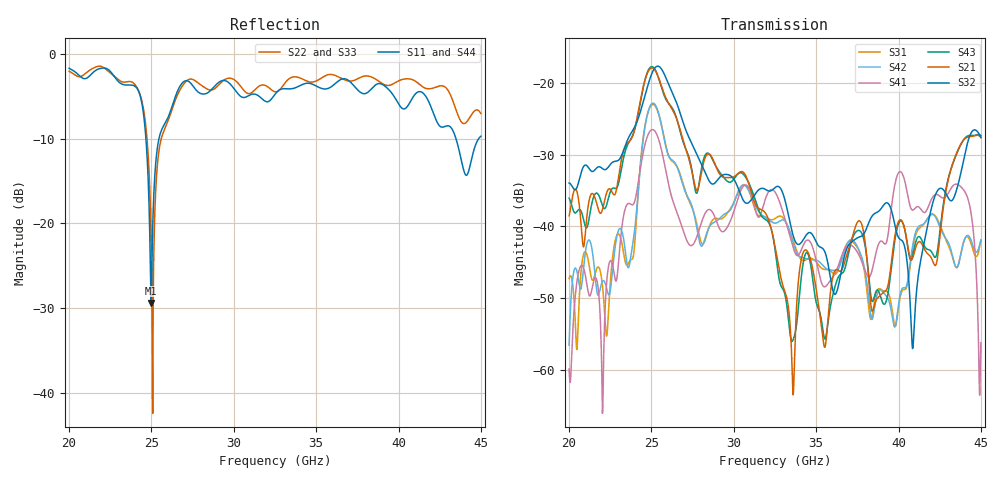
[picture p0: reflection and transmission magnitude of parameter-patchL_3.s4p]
! TOUCHSTONE file generated by CST MICROWAVE STUDIO
! Date and time: Sat Jun  8 23:23:03 2024
! Project name: Final_26GHz_linear.cst
! Parameters = {tand=0.0037; Connector_spacing=15.33; Coplanar_gap=0.425; Distance_inner=4.78238; Distance_outer=14.3471; L=2.756; L_pad=5; Length_strip_inner=24.3248; Length_strip_outer=27.8328; Pad_via_diameter=2.1; Pad_via_x_centre=3.75; Pad_via_z_centre=2.8; Patch_spacing=5.76524; Via_diameter=0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
! Header version: 2024
! Port assignment regex: !\s*Touchstone port\s*([0-9]+)\s*=\s*(CST MWS port|CST DES external port|CST DES block port)\s*(.+)\s* \(\"(.*)\"\)(\s*mode\s*([0-9]+))?.*
! Touchstone port assignment:
! Touchstone port 1 = CST MWS port 1 ("")
! Touchstone port 2 = CST MWS port 2 ("")
! Touchstone port 3 = CST MWS port 3 ("")
! Touchstone port 4 = CST MWS port 4 ("")
# GHz S MA R 50
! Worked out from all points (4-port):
!   1001 points, 20 GHz to 45 GHz, reference 50 ohm
!   strongest paths, dB at 20 GHz, 26.25 GHz, 32.5 GHz, 38.75 GHz, 45 GHz:
!     S32: -34.0, -21.3, -34.6, -38.0, -27.6
!     S21: -38.5, -23.7, -42.8, -49.9, -27.6
!     S43: -36.1, -23.5, -43.1, -48.9, -27.4
!     S41: -59.8, -36.1, -35.2, -42.7, -56.2
!     S42: -56.5, -30.8, -39.5, -49.2, -41.9
!     S31: -47.3, -30.9, -38.9, -48.8, -41.9
!   lowest |S11| = -29.4 dB at 24.98 GHz (marker M1), VSWR 1.07, Z = 50.6 + j3.37 ohm
!   |S11| at or under -10 dB: 24.66 GHz to 25.45 GHz (791.2 MHz wide, 3.16 % of centre); 43.49 GHz to 44.86 GHz (1.372 GHz wide, 3.11 % of centre)
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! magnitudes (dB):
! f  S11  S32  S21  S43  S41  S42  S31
! 20 GHz  -1.7  -34.0  -38.5  -36.1  -59.8  -56.5  -47.3
! 22.27 GHz  -1.7  -32.0  -35.3  -37.0  -47.9  -48.6  -55.3
! 24.98 GHz  -29.4  -19.0  -18.0  -17.8  -26.6  -23.0  -23.2
! 33.6 GHz  -4.1  -41.3  -63.5  -55.8  -42.9  -42.4  -42.0
! 40.88 GHz  -5.1  -56.8  -44.3  -43.9  -37.7  -42.5  -42.9
! 44.1 GHz  -14.3  -29.2  -27.7  -27.5  -35.5  -41.4  -41.5
! 45 GHz  -9.7  -27.6  -27.6  -27.4  -56.2  -41.9  -41.9
